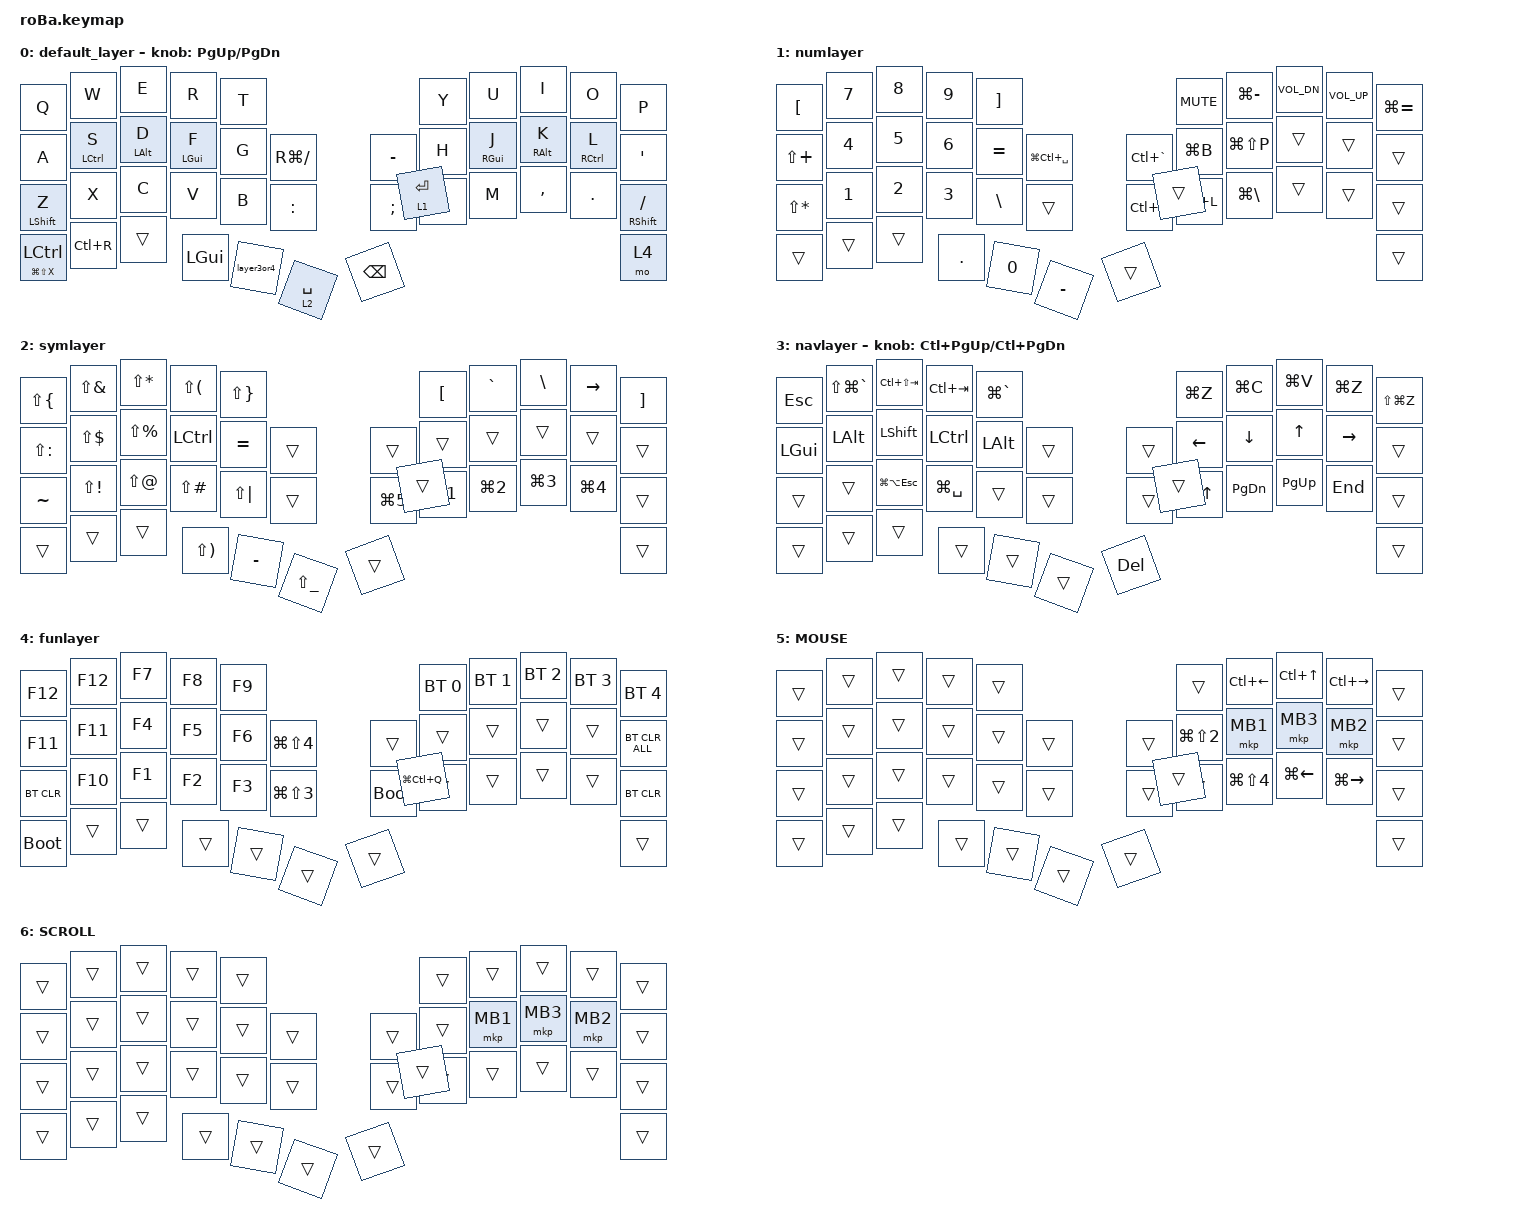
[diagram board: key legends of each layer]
#include <behaviors.dtsi>
#include <dt-bindings/zmk/bt.h>
#include <dt-bindings/zmk/keys.h>
#include <dt-bindings/zmk/pointing.h>

&mt {
    flavor = "balanced";
    quick-tap-ms = <0>;
};

&trackball {
    automouse-layer = <5>;
    scroll-layers = <6>;

    // arrows {
    //     layers = <3>;
    //     bindings =
    //         <&kp RIGHT_ARROW>,
    //         <&kp LEFT_ARROW>,
    //         <&kp UP_ARROW>,
    //         <&kp DOWN_ARROW>;
    //     tick = <10>;
    //     wait-ms = <5>;
    //     tap-ms = <5>;
    // };
};

/ {
    combos {
        compatible = "zmk,combos";

        tab {
            bindings = <&kp TAB>;
            key-positions = <11 12>;
        };

        shift_tab {
            bindings = <&kp LS(TAB)>;
            key-positions = <12 13>;
        };

        cb_excl {
            bindings = <&kp EXCL>;
            key-positions = <1 11>;
            timeout-ms = <30>;
        };

        cb_at {
            bindings = <&kp AT>;
            key-positions = <2 12>;
            timeout-ms = <30>;
        };

        cb_hash {
            bindings = <&kp HASH>;
            key-positions = <3 13>;
            timeout-ms = <30>;
        };

        cb_dllr {
            bindings = <&kp DLLR>;
            key-positions = <4 14>;
            timeout-ms = <30>;
        };

        cb_prcnt {
            bindings = <&kp PRCNT>;
            key-positions = <4 14>;
            timeout-ms = <30>;
        };

        cb_caret {
            bindings = <&kp CARET>;
            key-positions = <5 17>;
            timeout-ms = <30>;
        };

        cb_amps {
            bindings = <&kp LEFT_PARENTHESIS>;
            key-positions = <6 18>;
            timeout-ms = <30>;
        };

        cb_mult {
            bindings = <&kp RIGHT_PARENTHESIS>;
            key-positions = <7 19>;
            timeout-ms = <30>;
        };

        cb_lparen {
            bindings = <&kp ASTERISK>;
            key-positions = <8 20 20>;
            timeout-ms = <30>;
        };

        cb_rparen {
            bindings = <&kp AMPERSAND>;
            key-positions = <10 0>;
            timeout-ms = <30>;
        };

        play-pause {
            bindings = <&kp C_PLAY_PAUSE>;
            key-positions = <17 16>;
        };

        copy {
            bindings = <&kp LG(C)>;
            key-positions = <14 13>;
        };

        paste {
            bindings = <&kp LG(V)>;
            key-positions = <25 26>;
        };

        select-all {
            bindings = <&kp LG(A)>;
            key-positions = <4 3>;
        };

        next-song {
            bindings = <&kp C_NEXT>;
            key-positions = <29 28>;
        };

        prev-song {
            bindings = <&kp C_PREV>;
            key-positions = <29 30>;
        };

        interrogation {
            bindings = <&kp QUESTION>;
            key-positions = <5 6>;
        };

        togglescroll {
            bindings = <&tog 6>;
            key-positions = <19 18>;
        };

        tilde {
            bindings = <&kp TILDE>;
            key-positions = <17 18>;
        };

        paste-without-formatting {
            bindings = <&kp LG(LS(V))>;
            key-positions = <26 25 24>;
        };

        undo {
            bindings = <&kp LG(Z)>;
            key-positions = <15 14>;
        };

        redo {
            bindings = <&kp LG(LS(Z))>;
            key-positions = <27 26>;
        };
    };

    macros {
        to_layer_0: to_layer_0 {
            compatible = "zmk,behavior-macro-one-param";
            #binding-cells = <1>;
            bindings = <&to 0 &macro_param_1to1 &kp MACRO_PLACEHOLDER>;
            label = "TO_LAYER_0";
        };
    };

    behaviors {
        lt_to_layer_0: lt_to_layer_0 {
            compatible = "zmk,behavior-hold-tap";
            label = "LAYER_TAP_TO_0";
            bindings = <&mo>, <&to_layer_0>;

            #binding-cells = <2>;
            tapping-term-ms = <200>;
        };

        layer3or4: layer3or4 {
            compatible = "zmk,behavior-tap-dance";
            label = "LAYER3OR4";
            #binding-cells = <0>;
            bindings = <&mo 3>, <&mo 4>;
        };

        // Home row mods: only keys on the opposite hand (or thumbs) trigger a hold,
        // so same-hand rolls always type letters.
        hml: home_row_mod_left {
            compatible = "zmk,behavior-hold-tap";
            label = "HOME_ROW_MOD_LEFT";
            #binding-cells = <2>;
            flavor = "balanced";
            tapping-term-ms = <280>;
            quick-tap-ms = <175>;
            require-prior-idle-ms = <150>;
            bindings = <&kp>, <&kp>;
            hold-trigger-key-positions = <5 6 7 8 9 16 17 18 19 20 21 28 29 30 31 32 33 34 35 36 37 38 39 40 41 42>;
            hold-trigger-on-release;
        };

        hmr: home_row_mod_right {
            compatible = "zmk,behavior-hold-tap";
            label = "HOME_ROW_MOD_RIGHT";
            #binding-cells = <2>;
            flavor = "balanced";
            tapping-term-ms = <280>;
            quick-tap-ms = <175>;
            require-prior-idle-ms = <150>;
            bindings = <&kp>, <&kp>;
            hold-trigger-key-positions = <0 1 2 3 4 10 11 12 13 14 15 22 23 24 25 26 27 34 35 36 37 38 39 40 41 42>;
            hold-trigger-on-release;
        };
    };

    keymap {
        compatible = "zmk,keymap";

        default_layer {
            bindings = <
&kp Q                       &kp W      &kp E   &kp R         &kp T                                                  &kp Y        &kp U  &kp I      &kp O    &kp P
&kp A                       &hml LCTRL S  &hml LALT D  &hml LGUI F  &kp G       &kp RG(SLASH)               &kp MINUS      &kp H        &hmr RGUI J  &hmr RALT K  &hmr RCTRL L  &kp SQT
&mt LEFT_SHIFT Z            &kp X         &kp C        &kp V        &kp B       &kp COLON                   &kp SEMICOLON  &kp N        &kp M        &kp COMMA    &kp DOT       &mt RSHFT SLASH
&mt LG(LS(X)) LEFT_CONTROL  &kp LC(R)  &trans  &kp LEFT_GUI  &layer3or4  &lt_to_layer_0 2 SPACE      &kp BACKSPACE  &lt 1 ENTER                             &mo 4
            >;

            sensor-bindings = <&inc_dec_kp PG_UP PAGE_DOWN>;
        };

        numlayer {
            bindings = <
&kp LBKT      &kp N7  &kp N8  &kp N9      &kp RBKT                                         &kp K_MUTE  &kp LG(MINUS)  &kp C_VOL_DN  &kp C_VOL_UP  &kp LG(EQUAL)
&kp LS(PLUS)  &kp N4  &kp N5  &kp N6      &kp EQUAL  &kp LG(LC(SPACE))      &kp LC(GRAVE)  &kp LG(B)   &kp LG(LS(P))  &trans        &trans        &trans
&kp LS(STAR)  &kp N1  &kp N2  &kp N3      &kp BSLH   &trans                 &kp LC(C)      &kp LC(L)   &kp LG(BSLH)   &trans        &trans        &trans
&trans        &trans  &trans  &kp PERIOD  &kp N0     &kp MINUS              &trans         &trans                                                 &trans
            >;
        };

        symlayer {
            bindings = <
&kp LS(LBRC)   &kp LS(AMPS)  &kp LS(STAR)   &kp LS(LPAR)   &kp LS(RBRC)                                 &kp LBKT    &kp GRAVE   &kp BSLH    &kp RIGHT   &kp RBKT
&kp LS(COLON)  &kp LS(DLLR)  &kp LS(PRCNT)  &kp LCTRL      &kp EQUAL     &trans             &trans      &trans      &trans      &trans      &trans      &trans
&kp TILDE      &kp LS(EXCL)  &kp LS(AT)     &kp LS(POUND)  &kp LS(PIPE)  &trans             &kp LG(N5)  &kp LG(N1)  &kp LG(N2)  &kp LG(N3)  &kp LG(N4)  &trans
&trans         &trans        &trans         &kp LS(RPAR)   &kp MINUS     &kp LS(UNDER)      &trans      &trans                                          &trans
            >;
        };

        navlayer {
            bindings = <
&kp ESCAPE    &kp LS(LG(GRAVE))  &kp LC(LS(TAB))     &kp LC(TAB)       &kp LG(GRAVE)                          &kp LG(Z)   &kp LG(C)  &kp LG(V)  &kp LG(Z)  &kp LS(LG(Z))
&kp LEFT_GUI  &kp LEFT_ALT       &kp LEFT_SHIFT      &kp LEFT_CONTROL  &kp LEFT_ALT   &trans      &trans      &kp LEFT    &kp DOWN   &kp UP     &kp RIGHT  &trans
&trans        &trans             &kp LG(LA(ESCAPE))  &kp LG(SPACE)     &trans         &trans      &trans      &kp LG(UP)  &kp PG_DN  &kp PG_UP  &kp END    &trans
&trans        &trans             &trans              &trans            &trans         &trans      &kp DELETE  &trans                                       &trans
            >;

            sensor-bindings = <&inc_dec_kp LC(PAGE_UP) LC(PAGE_DOWN)>;
        };

        funlayer {
            bindings = <
&kp F12      &kp F12  &kp F7  &kp F8  &kp F9                                         &bt BT_SEL 0   &bt BT_SEL 1  &bt BT_SEL 2  &bt BT_SEL 3  &bt BT_SEL 4
&kp F11      &kp F11  &kp F4  &kp F5  &kp F6  &kp LG(LS(NUMBER_4))      &trans       &trans         &trans        &trans        &trans        &bt BT_CLR_ALL
&bt BT_CLR   &kp F10  &kp F1  &kp F2  &kp F3  &kp LG(LS(NUMBER_3))      &bootloader  &trans         &trans        &trans        &trans        &bt BT_CLR
&bootloader  &trans   &trans  &trans  &trans  &trans                    &trans       &kp LG(LC(Q))                                            &trans
            >;
        };

        MOUSE {
            bindings = <
&trans  &trans  &trans  &trans  &trans                      &trans                &kp LC(LEFT)          &kp LC(UP_ARROW)    &kp LC(RIGHT)  &trans
&trans  &trans  &trans  &trans  &trans  &trans      &trans  &kp LG(LS(NUMBER_2))  &mkp MB1              &mkp MB3            &mkp MB2       &trans
&trans  &trans  &trans  &trans  &trans  &trans      &trans  &trans                &kp LG(LS(NUMBER_4))  &kp LG(LEFT_ARROW)  &kp LG(RIGHT)  &trans
&trans  &trans  &trans  &trans  &trans  &trans      &trans  &trans                                                                         &trans
            >;
        };

        SCROLL {
            bindings = <
&trans  &trans  &trans  &trans  &trans                      &trans  &trans    &trans    &trans    &trans
&trans  &trans  &trans  &trans  &trans  &trans      &trans  &trans  &mkp MB1  &mkp MB3  &mkp MB2  &trans
&trans  &trans  &trans  &trans  &trans  &trans      &trans  &trans  &trans    &trans    &trans    &trans
&trans  &trans  &trans  &trans  &trans  &trans      &trans  &trans                                &trans
            >;
        };
    };
};
